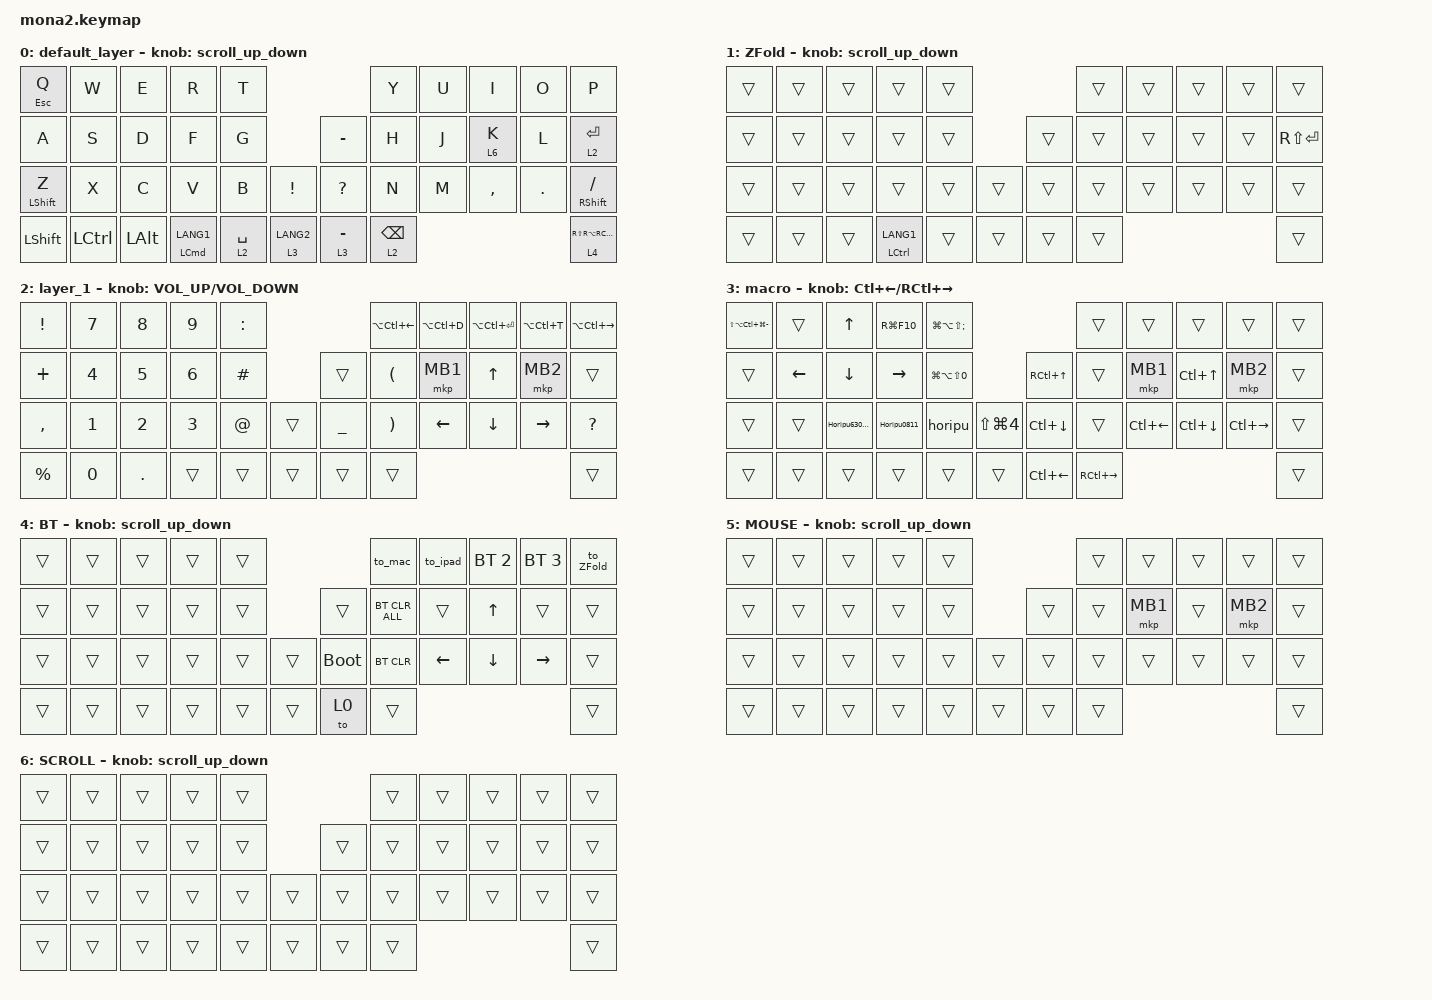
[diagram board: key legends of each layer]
#include <input/processors.dtsi>
#include <dt-bindings/zmk/input_transform.h>
#include <zephyr/dt-bindings/input/input-event-codes.h>
#include <behaviors.dtsi>
#include <dt-bindings/zmk/bt.h>
#include <dt-bindings/zmk/keys.h>
#include <dt-bindings/zmk/pointing.h>

#define ZMK_POINTING_DEFAULT_SCRL_VAL 100
#define MOUSE 5
#define SCROLL 6

&mt {
    flavor = "balanced";
    quick-tap-ms = <0>;
};

&lt {
    quick-tap-ms = <300>;
    flavor = "balanced";
};

/ {
    combos {
        compatible = "zmk,combos";

        tab {
            bindings = <&kp TAB>;
            key-positions = <10 11>;
        };
    };

    macros {
        to_layer_0: to_layer_0 {
            compatible = "zmk,behavior-macro-one-param";
            #binding-cells = <1>;
            bindings = <&to 0 &macro_param_1to1 &kp MACRO_PLACEHOLDER>;
            label = "TO_LAYER_0";
        };

        horipu: horipu {
            compatible = "zmk,behavior-macro";
            #binding-cells = <0>;
            bindings = <&kp H &kp O &kp R &kp I &kp P &kp U &kp ENTER>;
            label = "HORIPU";
        };

        Horipu0811: Horipu0811 {
            compatible = "zmk,behavior-macro";
            #binding-cells = <0>;
            bindings = <&kp LS(H) &kp O &kp R &kp I &kp P &kp U &kp N0 &kp N8 &kp N1 &kp N1>;
            label = "HORIPU0811";
        };

        Horipu630811: Horipu630811 {
            compatible = "zmk,behavior-macro";
            #binding-cells = <0>;
            bindings = <&kp LS(H) &kp O &kp R &kp I &kp P &kp U &kp N6 &kp N3 &kp N0 &kp N8 &kp N1 &kp N1>;
            label = "HORIPU630811";
        };

        to_ZFold: to_ZFold {
            compatible = "zmk,behavior-macro";
            #binding-cells = <0>;
            bindings = <&bt BT_SEL 4>, <&macro_wait_time 200>, <&to 1>;

            label = "TO_ZFOLD";
        };

        to_mac: to_mac_ipad {
            compatible = "zmk,behavior-macro";
            #binding-cells = <0>;
            bindings = <&bt BT_SEL 0>, <&macro_wait_time 200>, <&to 0>;

            label = "TO_MAC_IPAD";
        };

        to_ipad: to_ipad {
            compatible = "zmk,behavior-macro";
            #binding-cells = <0>;
            bindings = <&bt BT_SEL 1>, <&macro_wait_time 200>, <&to 0>;

            label = "TO_IPAD";
        };

        app_change: app_change {
            compatible = "zmk,behavior-macro";
            #binding-cells = <0>;
            bindings = <&kp LEFT_ALT &kp TAB>;
            label = "APP_CHANGE";
        };
    };

    behaviors {
        lt_to_layer_0: lt_to_layer_0 {
            compatible = "zmk,behavior-hold-tap";
            label = "LAYER_TAP_TO_0";
            bindings = <&mo>, <&to_layer_0>;

            #binding-cells = <2>;
            tapping-term-ms = <200>;
        };

        scroll_right_left: mouse_wheel_right_left {
            compatible = "zmk,behavior-sensor-rotate";
            #sensor-binding-cells = <0>;
            bindings = <&msc SCRL_LEFT>, <&msc SCRL_RIGHT>;

            tap-ms = <20>;
        };

        zoom: zoom {
            compatible = "zmk,behavior-sensor-rotate";
            label = "ZOOM";
            #sensor-binding-cells = <0>;
            bindings = <&kp C_AC_ZOOM_IN>, <&kp C_AC_ZOOM_OUT>;
        };

        scroll_up_down: mouse_wheel_up_down {
            compatible = "zmk,behavior-sensor-rotate";
            #sensor-binding-cells = <0>;
            bindings = <&msc SCRL_UP>, <&msc SCRL_DOWN>;

            tap-ms = <20>;
        };

        space_to_L1: space_to_L1 {
            compatible = "zmk,behavior-hold-tap";
            label = "SPACE_TO_L1";
            bindings = <&mo>, <&kp>;

            #binding-cells = <2>;
            tapping-term-ms = <150>;
            quick-tap-ms = <80>;
        };
    };

    keymap {
        compatible = "zmk,keymap";

        default_layer {
            bindings = <
&mt ESC Q         &kp W             &kp E         &kp R                   &kp T                                              &kp Y            &kp U  &kp I      &kp O    &kp P
&kp A             &kp S             &kp D         &kp F                   &kp G                                &kp MINUS     &kp H            &kp J  &lt 6 K    &kp L    &lt 2 ENTER
&mt LEFT_SHIFT Z  &kp X             &kp C         &kp V                   &kp B                 &kp EXCL       &kp QUESTION  &kp N            &kp M  &kp COMMA  &kp DOT  &mt RIGHT_SHIFT SLASH
&kp LEFT_SHIFT    &kp LEFT_CONTROL  &kp LEFT_ALT  &mt LEFT_COMMAND LANG1  &space_to_L1 2 SPACE  &lt 3 LANG2    &lt 3 MINUS   &lt 2 BACKSPACE                             &lt 4 RS(RA(RC(RG(F))))
            >;

            sensor-bindings = <&scroll_up_down>;
        };

        ZFold {
            bindings = <
&trans  &trans  &trans  &trans                  &trans                    &trans  &trans  &trans  &trans  &trans
&trans  &trans  &trans  &trans                  &trans            &trans  &trans  &trans  &trans  &trans  &kp RS(ENTER)
&trans  &trans  &trans  &trans                  &trans  &trans    &trans  &trans  &trans  &trans  &trans  &trans
&trans  &trans  &trans  &mt LEFT_CONTROL LANG1  &trans  &trans    &trans  &trans                          &trans
            >;

            sensor-bindings = <&scroll_up_down>;
        };

        layer_1 {
            bindings = <
&kp EXCLAMATION  &kp N7        &kp N8        &kp N9        &kp COLON                       &kp LA(LC(LEFT_ARROW))  &kp LA(LC(D))   &kp LA(LC(ENTER))  &kp LA(LC(T))    &kp LA(LC(RIGHT_ARROW))
&kp PLUS         &kp NUMBER_4  &kp N5        &kp NUMBER_6  &kp HASH             &trans     &kp LEFT_PARENTHESIS    &mkp MB1        &kp UP_ARROW       &mkp MB2         &trans
&kp COMMA        &kp NUMBER_1  &kp NUMBER_2  &kp NUMBER_3  &kp AT     &trans    &kp UNDER  &kp RIGHT_PARENTHESIS   &kp LEFT_ARROW  &kp DOWN_ARROW     &kp RIGHT_ARROW  &kp QUESTION
&kp PERCENT      &kp N0        &kp PERIOD    &trans        &trans     &trans    &trans     &trans                                                                      &trans
            >;

            sensor-bindings = <&inc_dec_kp C_VOLUME_UP C_VOLUME_DOWN>;
        };

        macro {
            bindings = <
&kp LS(LA(LC(LG(MINUS))))  &trans          &kp UP_ARROW    &kp RG(F10)      &kp LG(LA(LS(SEMI)))                                              &trans               &trans              &trans              &trans               &trans
&trans                     &kp LEFT_ARROW  &kp DOWN_ARROW  &kp RIGHT_ARROW  &kp LG(LA(LS(N0)))                            &kp RC(UP_ARROW)    &trans               &mkp MB1            &kp LC(UP_ARROW)    &mkp MB2             &trans
&trans                     &trans          &Horipu630811   &Horipu0811      &horipu               &kp LS(LG(NUMBER_4))    &kp LC(DOWN)        &trans               &kp LC(LEFT_ARROW)  &kp LC(DOWN_ARROW)  &kp LC(RIGHT_ARROW)  &trans
&trans                     &trans          &trans          &trans           &trans                &trans                  &kp LC(LEFT_ARROW)  &kp RC(RIGHT_ARROW)                                                               &trans
            >;

            sensor-bindings = <&inc_dec_kp LC(LEFT_ARROW) RC(RIGHT_ARROW)>;
        };

        BT {
            bindings = <
&trans  &trans  &trans  &trans  &trans                         &to_mac         &to_ipad        &bt BT_SEL 2    &bt BT_SEL 3     &to_ZFold
&trans  &trans  &trans  &trans  &trans            &trans       &bt BT_CLR_ALL  &trans          &kp UP_ARROW    &trans           &trans
&trans  &trans  &trans  &trans  &trans  &trans    &bootloader  &bt BT_CLR      &kp LEFT_ARROW  &kp DOWN_ARROW  &kp RIGHT_ARROW  &trans
&trans  &trans  &trans  &trans  &trans  &trans    &to 0        &trans                                                           &trans
            >;

            sensor-bindings = <&scroll_up_down>;
        };

        MOUSE {
            bindings = <
&trans  &trans  &trans  &trans  &trans                    &trans  &trans    &trans  &trans    &trans
&trans  &trans  &trans  &trans  &trans            &trans  &trans  &mkp MB1  &trans  &mkp MB2  &trans
&trans  &trans  &trans  &trans  &trans  &trans    &trans  &trans  &trans    &trans  &trans    &trans
&trans  &trans  &trans  &trans  &trans  &trans    &trans  &trans                              &trans
            >;

            sensor-bindings = <&scroll_up_down>;
        };

        SCROLL {
            bindings = <
&trans  &trans  &trans  &trans  &trans                    &trans  &trans  &trans  &trans  &trans
&trans  &trans  &trans  &trans  &trans            &trans  &trans  &trans  &trans  &trans  &trans
&trans  &trans  &trans  &trans  &trans  &trans    &trans  &trans  &trans  &trans  &trans  &trans
&trans  &trans  &trans  &trans  &trans  &trans    &trans  &trans                          &trans
            >;

            sensor-bindings = <&scroll_up_down>;
        };
    };

    conditional_layers { compatible = "zmk,conditional-layers"; };
};
